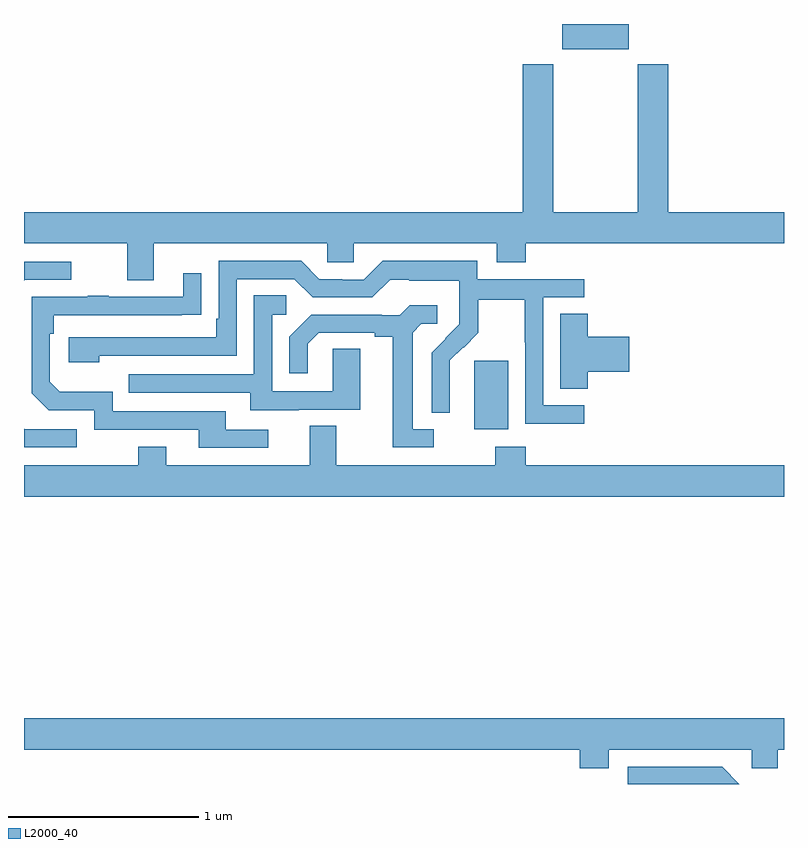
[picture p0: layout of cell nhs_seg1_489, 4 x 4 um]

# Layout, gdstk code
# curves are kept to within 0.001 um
import gdstk
lib = gdstk.Library(unit=1e-6, precision=1e-09)
def R(c, l, rs):  # rectangles x0, y0, x1, y1
    for r in rs: c.add(gdstk.rectangle(r[:2], r[2:], *l))
def P(c, l, *ps):  # polygons
    for p in ps: c.add(gdstk.Polygon(p, *l))
L2000_40 = (2000, 40)

nhs_seg1_489 = lib.new_cell('nhs_seg1_489')
R(nhs_seg1_489, L2000_40, [(139.37,572.066,139.549,572.427), (139.832,574.067,140.182,574.199)])
P(nhs_seg1_489, L2000_40, [(137.683,573.044),(138.597,573.044),(138.597,572.946),(138.735,572.946),(138.735,573.044),(139.487,573.044),(139.487,572.945),(139.64,572.945),(139.64,573.044),(141,573.044),(141,573.208),(140.39,573.208),(140.39,573.988),(140.23,573.988),(140.23,573.208),(139.785,573.208),(139.785,573.988),(139.625,573.988),(139.625,573.208),(137,573.208),(137,573.044),(137.543,573.044),(137.543,572.85),(137.683,572.85)],
  [(139.948,572.193),(139.734,572.193),(139.734,572.76),(139.948,572.76),(139.948,572.856),(139.386,572.856),(139.386,572.953),(138.889,572.953),(138.789,572.853),(138.674,572.853),(138.674,572.856),(138.555,572.856),(138.459,572.952),(138.024,572.952),(138.024,572.647),(138.011,572.647),(138.011,572.55),(137.235,572.55),(137.235,572.42),(137.396,572.42),(137.396,572.454),(138.12,572.454),(138.12,572.856),(138.423,572.856),(138.519,572.76),(138.834,572.76),(138.927,572.853),(139.027,572.853),(139.027,572.849),(139.29,572.849),(139.29,572.715),(139.292,572.715),(139.292,572.618),(139.146,572.47),(139.146,572.152),(139.242,572.152),(139.241,572.429),(139.311,572.499),(139.314,572.496),(139.391,572.573),(139.391,572.748),(139.636,572.748),(139.636,572.524),(139.638,572.524),(139.638,572.095),(139.948,572.095)],
  [(137.004,572.853),(137.248,572.853),(137.248,572.949),(137,572.949),(137,572.849)],
  [(138.286,572.064),(138.061,572.064),(138.061,572.16),(137.466,572.16),(137.466,572.263),(137.189,572.263),(137.136,572.316),(137.136,572.57),(137.156,572.57),(137.156,572.667),(137.933,572.668),(137.933,572.887),(137.837,572.887),(137.837,572.763),(137.447,572.763),(137.447,572.768),(137.335,572.768),(137.335,572.763),(137.04,572.763),(137.04,572.256),(137.13,572.166),(137.37,572.166),(137.37,572.064),(137.921,572.064),(137.921,571.968),(138.286,571.968)],
  [(138.445,572.169),(138.769,572.169),(138.769,572.489),(138.624,572.489),(138.624,572.265),(138.306,572.265),(138.306,572.67),(138.379,572.67),(138.379,572.771),(138.21,572.771),(138.21,572.355),(137.551,572.355),(137.551,572.259),(138.191,572.259),(138.191,572.165),(138.445,572.165)],
  [(139.156,572.067),(139.045,572.067),(139.045,572.575),(139.092,572.622),(139.174,572.622),(139.174,572.719),(139.03,572.719),(138.978,572.667),(138.884,572.667),(138.884,572.67),(138.512,572.67),(138.396,572.554),(138.396,572.361),(138.493,572.361),(138.493,572.517),(138.55,572.574),(138.845,572.574),(138.845,572.552),(138.941,572.552),(138.941,571.971),(139.156,571.971)],
  [(139.967,572.369),(140.185,572.369),(140.185,572.552),(139.967,572.552),(139.967,572.675),(139.823,572.675),(139.823,572.278),(139.967,572.278)],
  [(141,571.876),(139.64,571.876),(139.64,571.975),(139.48,571.975),(139.48,571.876),(138.643,571.876),(138.643,572.084),(138.503,572.084),(138.503,571.876),(137.749,571.876),(137.749,571.975),(137.602,571.975),(137.602,571.876),(137,571.876),(137,571.712),(141,571.712)],
  [(137.278,572.067),(137.001,572.067),(137,572.068),(137,571.971),(137.278,571.971)],
  [(140.077,570.38),(140.829,570.38),(140.829,570.282),(140.967,570.282),(140.967,570.38),(141,570.38),(141,570.544),(137,570.544),(137,570.38),(139.925,570.38),(139.925,570.281),(140.077,570.281)],
  [(140.675,570.289),(140.178,570.289),(140.178,570.199),(140.765,570.199)])

lib.write_gds('nhs_seg1_489.gds')
